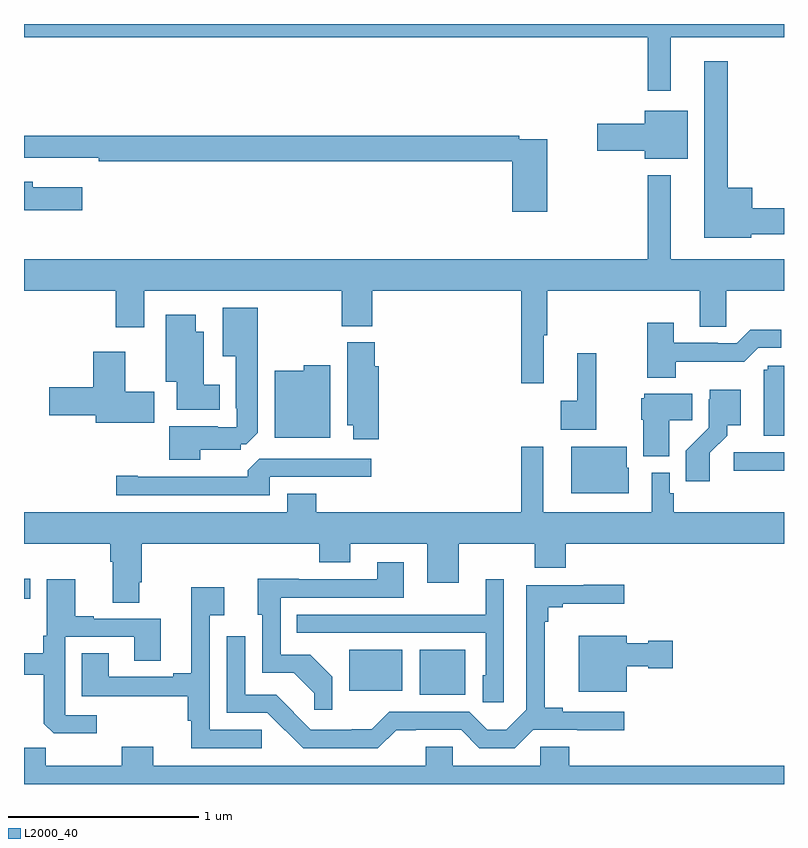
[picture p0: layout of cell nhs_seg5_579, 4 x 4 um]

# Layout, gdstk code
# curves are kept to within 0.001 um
import gdstk
lib = gdstk.Library(unit=1e-6, precision=1e-09)
def R(c, l, rs):  # rectangles x0, y0, x1, y1
    for r in rs: c.add(gdstk.rectangle(r[:2], r[2:], *l))
def P(c, l, *ps):  # polygons
    for p in ps: c.add(gdstk.Polygon(p, *l))
L2000_40 = (2000, 40)

nhs_seg5_579 = lib.new_cell('nhs_seg5_579')
R(nhs_seg5_579, L2000_40, [(149.084,885.269,149.323,885.505), (148.712,885.29,148.99,885.505), (147,885.775,147.034,885.878)])
P(nhs_seg5_579, L2000_40, [(150.403,888.728),(151,888.728),(151,888.799),(147,888.799),(147,888.728),(150.282,888.728),(150.282,888.447),(150.403,888.447)],
  [(150.828,887.693),(151,887.693),(151,887.828),(150.832,887.828),(150.832,887.938),(150.703,887.938),(150.703,888.604),(150.581,888.604),(150.581,887.675),(150.828,887.675)],
  [(150.493,888.343),(150.266,888.343),(150.266,888.273),(150.018,888.273),(150.018,888.131),(150.266,888.131),(150.266,888.089),(150.493,888.089)],
  [(149.753,888.192),(149.606,888.192),(149.606,888.212),(147,888.212),(147,888.096),(147.142,888.096),(147.142,888.095),(147.394,888.095),(147.394,888.076),(149.57,888.076),(149.57,887.811),(149.753,887.811)],
  [(149.735,887.16),(149.753,887.16),(149.753,887.396),(150.557,887.396),(150.557,887.206),(150.696,887.206),(150.696,887.396),(151,887.396),(151,887.56),(150.403,887.56),(150.403,888.004),(150.282,888.004),(150.282,887.56),(147,887.56),(147,887.396),(147.482,887.396),(147.482,887.202),(147.634,887.202),(147.634,887.396),(148.672,887.396),(148.672,887.209),(148.832,887.209),(148.832,887.396),(149.617,887.396),(149.617,886.908),(149.735,886.908)],
  [(147.307,887.941),(147.046,887.941),(147.046,887.97),(147,887.97),(147,887.819),(147.307,887.819)],
  [(147.928,886.559),(148.14,886.559),(148.14,886.587),(148.171,886.587),(148.231,886.647),(148.231,887.305),(148.046,887.305),(148.046,887.051),(148.115,887.051),(148.115,886.777),(148.119,886.777),(148.119,886.677),(148.019,886.677),(148.019,886.681),(147.764,886.681),(147.764,886.505),(147.928,886.505)],
  [(148.03,886.9),(147.946,886.9),(147.946,887.179),(147.904,887.179),(147.904,887.269),(147.746,887.269),(147.746,886.916),(147.803,886.916),(147.803,886.769),(148.03,886.769)],
  [(150.429,887.022),(150.791,887.022),(150.864,887.094),(150.985,887.094),(150.985,887.191),(150.823,887.191),(150.75,887.118),(150.65,887.118),(150.65,887.121),(150.421,887.121),(150.421,887.227),(150.281,887.227),(150.281,886.937),(150.429,886.937)],
  [(148.868,886.998),(148.847,886.998),(148.847,887.124),(148.7,887.124),(148.7,886.688),(148.733,886.688),(148.733,886.614),(148.868,886.614)],
  [(147.685,886.863),(147.532,886.863),(147.532,887.074),(147.365,887.074),(147.365,886.886),(147.132,886.886),(147.132,886.739),(147.377,886.739),(147.377,886.7),(147.685,886.7)],
  [(150.012,887.065),(149.912,887.065),(149.912,886.817),(149.826,886.817),(149.826,886.664),(150.012,886.664)],
  [(148.612,887.002),(148.473,887.002),(148.473,886.975),(148.319,886.975),(148.319,886.622),(148.612,886.622)],
  [(151,887.001),(150.915,887.001),(150.915,886.98),(150.893,886.98),(150.893,886.632),(151,886.632)],
  [(150.61,886.543),(150.7,886.633),(150.7,886.688),(150.772,886.688),(150.772,886.873),(150.608,886.873),(150.608,886.824),(150.603,886.824),(150.603,886.673),(150.484,886.554),(150.484,886.392),(150.61,886.392)],
  [(150.397,886.714),(150.518,886.714),(150.518,886.852),(150.264,886.852),(150.264,886.83),(150.248,886.83),(150.248,886.716),(150.26,886.716),(150.26,886.523),(150.397,886.523)],
  [(147.607,885.862),(147.62,885.862),(147.62,886.064),(148.553,886.064),(148.553,885.965),(148.717,885.965),(148.717,886.064),(149.123,886.064),(149.123,885.858),(149.287,885.858),(149.287,886.064),(149.687,886.064),(149.687,885.936),(149.851,885.936),(149.851,886.064),(151,886.064),(151,886.228),(150.419,886.228),(150.419,886.329),(150.399,886.329),(150.399,886.438),(150.303,886.438),(150.303,886.228),(149.734,886.228),(149.734,886.573),(149.617,886.573),(149.617,886.228),(148.538,886.228),(148.538,886.327),(148.385,886.327),(148.385,886.228),(147,886.228),(147,886.064),(147.455,886.064),(147.455,885.968),(147.467,885.968),(147.467,885.754),(147.607,885.754)],
  [(150.184,886.464),(150.172,886.464),(150.172,886.573),(149.879,886.573),(149.879,886.328),(150.184,886.328)],
  [(150.959,886.449),(151,886.449),(151,886.545),(150.735,886.545),(150.735,886.447),(150.959,886.447)],
  [(148.293,886.416),(148.828,886.416),(148.828,886.512),(148.239,886.512),(148.178,886.45),(148.178,886.416),(147.598,886.416),(147.598,886.421),(147.486,886.421),(147.486,886.32),(148.293,886.32)],
  [(148.623,885.364),(148.507,885.48),(148.35,885.48),(148.35,885.78),(148.999,885.78),(148.999,885.967),(148.859,885.967),(148.859,885.876),(148.447,885.876),(148.447,885.878),(148.229,885.878),(148.229,885.69),(148.254,885.69),(148.254,885.384),(148.42,885.384),(148.528,885.276),(148.528,885.189),(148.623,885.189)],
  [(149.526,885.877),(149.429,885.877),(149.429,885.691),(149.095,885.691),(149.095,885.69),(148.435,885.69),(148.435,885.594),(149.43,885.594),(149.43,885.372),(149.414,885.372),(149.414,885.229),(149.526,885.229)],
  [(147.382,885.162),(147.216,885.162),(147.216,885.573),(147.581,885.573),(147.581,885.448),(147.721,885.448),(147.721,885.669),(147.367,885.669),(147.367,885.682),(147.271,885.682),(147.271,885.877),(147.12,885.877),(147.12,885.58),(147.1,885.58),(147.1,885.488),(147,885.488),(147,885.375),(147.105,885.375),(147.105,885.117),(147.157,885.066),(147.382,885.066)],
  [(148.958,885.083),(149.301,885.084),(149.397,884.988),(149.584,884.988),(149.68,885.084),(150.16,885.083),(150.16,885.18),(149.836,885.18),(149.836,885.2),(149.741,885.2),(149.741,885.653),(149.759,885.653),(149.759,885.73),(149.836,885.73),(149.836,885.749),(150.16,885.749),(150.16,885.848),(149.947,885.848),(149.947,885.846),(149.643,885.846),(149.643,885.189),(149.539,885.085),(149.438,885.085),(149.343,885.18),(148.923,885.18),(148.829,885.086),(148.724,885.086),(148.724,885.084),(148.509,885.084),(148.419,885.174),(148.421,885.176),(148.327,885.27),(148.164,885.27),(148.164,885.577),(148.068,885.577),(148.068,885.174),(148.281,885.174),(148.469,884.988),(148.863,884.988)],
  [(148.251,885.084),(147.978,885.084),(147.978,885.686),(148.054,885.686),(148.054,885.835),(147.881,885.835),(147.881,885.383),(147.785,885.383),(147.785,885.363),(147.445,885.363),(147.445,885.488),(147.305,885.488),(147.305,885.262),(147.862,885.262),(147.862,885.131),(147.881,885.131),(147.881,884.988),(148.251,884.988)],
  [(150.172,885.419),(150.285,885.419),(150.285,885.407),(150.415,885.407),(150.415,885.554),(150.285,885.554),(150.285,885.541),(150.172,885.541),(150.172,885.58),(149.921,885.58),(149.921,885.284),(150.172,885.284)],
  [(151,884.896),(149.87,884.896),(149.87,884.994),(149.718,884.994),(149.718,884.896),(149.256,884.896),(149.256,884.994),(149.114,884.994),(149.114,884.896),(147.679,884.896),(147.679,884.995),(147.515,884.995),(147.515,884.896),(147.115,884.896),(147.115,884.989),(147,884.989),(147,884.799),(151,884.799)])

lib.write_gds('nhs_seg5_579.gds')
